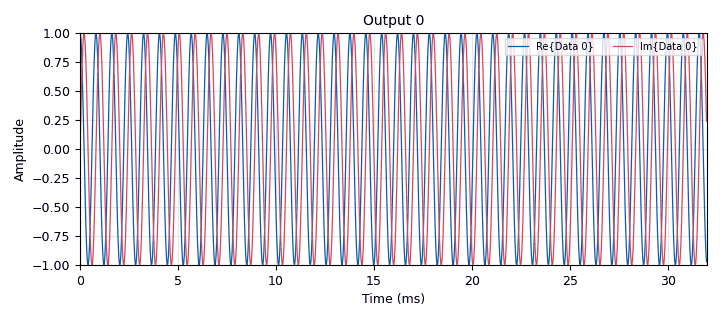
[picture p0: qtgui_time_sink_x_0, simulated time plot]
<?xml version='1.0' encoding='utf-8'?>
<?grc format='1' created='3.7.13'?>
<flow_graph>
<block>
<key>options</key>
<param><key>id</key><value>top_block</value></param>
<param><key>generate_options</key><value>qt_gui</value></param>
<param><key>title</key><value>Selector Block Demo</value></param>
</block>
<block>
<key>variable_qtgui_check_box</key>
<param><key>id</key><value>enabled</value></param>
<param><key>value</key><value>True</value></param>
<param><key>false</key><value>False</value></param>
<param><key>true</key><value>True</value></param>
<param><key>type</key><value>int</value></param>
</block>
<block>
<key>variable_qtgui_range</key>
<param><key>id</key><value>freq</value></param>
<param><key>value</key><value>1234</value></param>
<param><key>gui_hint</key><value>(2,0,1,2)</value></param>
<param><key>label</key><value>Frequency</value></param>
<param><key>orient</key><value>Qt.Horizontal</value></param>
<param><key>start</key><value>100</value></param>
<param><key>step</key><value>1</value></param>
<param><key>stop</key><value>samp_rate/2</value></param>
</block>
<block>
<key>variable_qtgui_range</key>
<param><key>id</key><value>input_index</value></param>
<param><key>value</key><value>0</value></param>
<param><key>gui_hint</key><value>(3,0,1,2)</value></param>
<param><key>orient</key><value>Qt.Horizontal</value></param>
<param><key>start</key><value>0</value></param>
<param><key>step</key><value>1</value></param>
<param><key>stop</key><value>2</value></param>
<param><key>rangeType</key><value>int</value></param>
</block>
<block>
<key>variable_qtgui_range</key>
<param><key>id</key><value>output_index</value></param>
<param><key>value</key><value>0</value></param>
<param><key>gui_hint</key><value>(4,0,1,2)</value></param>
<param><key>orient</key><value>Qt.Horizontal</value></param>
<param><key>start</key><value>0</value></param>
<param><key>step</key><value>1</value></param>
<param><key>stop</key><value>1</value></param>
<param><key>rangeType</key><value>int</value></param>
</block>
<block>
<key>variable</key>
<param><key>id</key><value>samp_rate</value></param>
<param><key>value</key><value>32000</value></param>
</block>
<block>
<key>analog_sig_source_x</key>
<param><key>id</key><value>analog_sig_source_x_0</value></param>
<param><key>amp</key><value>1</value></param>
<param><key>freq</key><value>freq</value></param>
<param><key>offset</key><value>0</value></param>
<param><key>type</key><value>complex</value></param>
<param><key>samp_rate</key><value>samp_rate</value></param>
<param><key>waveform</key><value>analog.GR_COS_WAVE</value></param>
</block>
<block>
<key>analog_sig_source_x</key>
<param><key>id</key><value>analog_sig_source_x_0_0</value></param>
<param><key>amp</key><value>1</value></param>
<param><key>freq</key><value>freq</value></param>
<param><key>offset</key><value>0</value></param>
<param><key>type</key><value>complex</value></param>
<param><key>samp_rate</key><value>samp_rate</value></param>
<param><key>waveform</key><value>analog.GR_TRI_WAVE</value></param>
</block>
<block>
<key>analog_sig_source_x</key>
<param><key>id</key><value>analog_sig_source_x_0_1</value></param>
<param><key>amp</key><value>1</value></param>
<param><key>freq</key><value>freq</value></param>
<param><key>offset</key><value>0</value></param>
<param><key>type</key><value>complex</value></param>
<param><key>samp_rate</key><value>samp_rate</value></param>
<param><key>waveform</key><value>analog.GR_SAW_WAVE</value></param>
</block>
<block>
<key>blocks_selector</key>
<param><key>id</key><value>blocks_selector_0</value></param>
<param><key>comment</key><value>The Selector block passes 
samples from the input selected
 by input_index to the output 
selected by output_index.

Outputs != output_index 
do not produce samples

When Enabled is set to Off, 
no output samples are produced</value></param>
<param><key>enabled</key><value>enabled</value></param>
<param><key>input_index</key><value>input_index</value></param>
<param><key>num_inputs</key><value>3</value></param>
<param><key>num_outputs</key><value>2</value></param>
<param><key>output_index</key><value>output_index</value></param>
<param><key>type</key><value>complex</value></param>
</block>
<block>
<key>qtgui_time_sink_x</key>
<param><key>id</key><value>qtgui_time_sink_x_0</value></param>
<param><key>gui_hint</key><value>(0,0,1,1)</value></param>
<param><key>color1</key><value>"blue"</value></param>
<param><key>label1</key><value></value></param>
<param><key>color2</key><value>"red"</value></param>
<param><key>label2</key><value></value></param>
<param><key>name</key><value>Output 0</value></param>
<param><key>size</key><value>1024</value></param>
<param><key>srate</key><value>samp_rate</value></param>
<param><key>type</key><value>complex</value></param>
</block>
<block>
<key>qtgui_time_sink_x</key>
<param><key>id</key><value>qtgui_time_sink_x_0_0</value></param>
<param><key>gui_hint</key><value>(0,1,1,1)</value></param>
<param><key>color1</key><value>"blue"</value></param>
<param><key>label1</key><value></value></param>
<param><key>color2</key><value>"red"</value></param>
<param><key>label2</key><value></value></param>
<param><key>name</key><value>Output 1</value></param>
<param><key>size</key><value>1024</value></param>
<param><key>srate</key><value>samp_rate</value></param>
<param><key>type</key><value>complex</value></param>
</block>
<connection><source_block_id>analog_sig_source_x_0</source_block_id><sink_block_id>blocks_selector_0</sink_block_id><source_key>0</source_key><sink_key>0</sink_key></connection>
<connection><source_block_id>analog_sig_source_x_0_0</source_block_id><sink_block_id>blocks_selector_0</sink_block_id><source_key>0</source_key><sink_key>1</sink_key></connection>
<connection><source_block_id>analog_sig_source_x_0_1</source_block_id><sink_block_id>blocks_selector_0</sink_block_id><source_key>0</source_key><sink_key>2</sink_key></connection>
<connection><source_block_id>blocks_selector_0</source_block_id><sink_block_id>qtgui_time_sink_x_0</sink_block_id><source_key>0</source_key><sink_key>0</sink_key></connection>
<connection><source_block_id>blocks_selector_0</source_block_id><sink_block_id>qtgui_time_sink_x_0_0</sink_block_id><source_key>1</source_key><sink_key>0</sink_key></connection>
</flow_graph>
